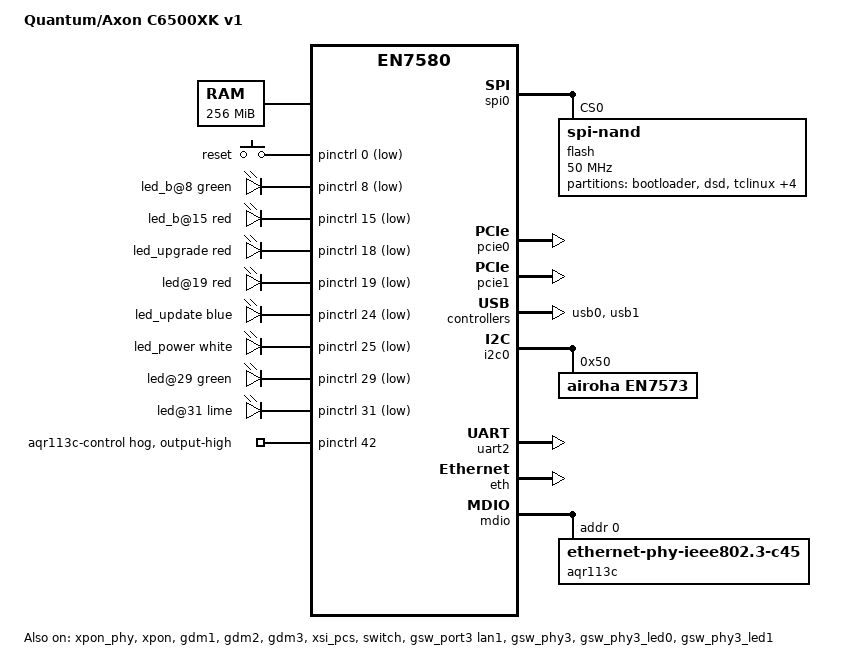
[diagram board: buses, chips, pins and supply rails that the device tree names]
// SPDX-License-Identifier: GPL-2.0

/dts-v1/;

#include "en7580.dtsi"

/ {
	model = "Quantum/Axon C6500XK v1";
	compatible = "quantum,c6500xk-v1", "econet,en7580";

	memory@0 {
		device_type = "memory";
		reg = <0x00000000 0x10000000>;
	};

	aliases {
		serial0 = &uart1;
		led-boot = &led_power;
		led-failsafe = &led_upgrade;
		led-upgrade = &led_update;
		led-running = &led_power;
	};

	keys {
		compatible = "gpio-keys-polled";
		poll-interval = <100>;

		reset {
			label = "reset";
			linux,code = <KEY_RESTART>;
			gpios = <&pinctrl 0 GPIO_ACTIVE_LOW>;
			debounce-interval = <60>;
		};
	};

	leds {
		compatible = "gpio-leds";

		led_b@8 {
			color = <LED_COLOR_ID_GREEN>;
			function = LED_FUNCTION_STATUS;
			function-enumerator = <8>;
			gpios = <&pinctrl 8 GPIO_ACTIVE_LOW>;
		};

		led_b@15 {
			color = <LED_COLOR_ID_RED>;
			function = LED_FUNCTION_STATUS;
			function-enumerator = <15>;
			gpios = <&pinctrl 15 GPIO_ACTIVE_LOW>;
		};

		// Red
		led_upgrade: led@18 {
			gpios = <&pinctrl 18 GPIO_ACTIVE_LOW>;
			color = <LED_COLOR_ID_RED>;
			function = LED_FUNCTION_STATUS;
			function-enumerator = <18>;
		};

		// Red brightless
		led@19 {
			gpios = <&pinctrl 19 GPIO_ACTIVE_LOW>;
			color = <LED_COLOR_ID_RED>;
			function = LED_FUNCTION_STATUS;
			function-enumerator = <19>;
		};

		// Blue
		led_update: led@24 {
			gpios = <&pinctrl 24 GPIO_ACTIVE_LOW>;
			color = <LED_COLOR_ID_BLUE>;
			function = LED_FUNCTION_STATUS;
			function-enumerator = <24>;
		};

		// White
		led_power: led@25 {
			gpios = <&pinctrl 25 GPIO_ACTIVE_LOW>;
			color = <LED_COLOR_ID_WHITE>;
			function = LED_FUNCTION_STATUS;
			function-enumerator = <25>;
		};

		// Green
		led@29 {
			gpios = <&pinctrl 29 GPIO_ACTIVE_LOW>;
			color = <LED_COLOR_ID_GREEN>;
			function = LED_FUNCTION_STATUS;
			function-enumerator = <29>;
		};

		// Green brightless
		led@31 {
			gpios = <&pinctrl 31 GPIO_ACTIVE_LOW>;
			color = <LED_COLOR_ID_LIME>;
			function = LED_FUNCTION_STATUS;
			function-enumerator = <31>;
		};
	};
};

/*
[    3.013668] parsing <2m[bootloader],2m[dsd],64m[tclinux],64m[tclinux_slave],320m[system],2m[uenv]>
[    3.047455] partition 9: name <uenv>, offset ffffffff, size 200000, mask flags 0
[    3.071353] partition 8: name <system>, offset ffffffff, size 14000000, mask flags 0
[    3.096506] partition 7: name <tclinux_slave>, offset ffffffff, size 4000000, mask flags 0
[    3.123296] partition 4: name <tclinux>, offset ffffffff, size 4000000, mask flags 0
[    3.148400] partition 1: name <dsd>, offset ffffffff, size 200000, mask flags 0
[    3.172069] partition 0: name <bootloader>, offset ffffffff, size 200000, mask flags 0
[    3.201207] Creating 11 MTD partitions on "EN7512-SPI_NAND":
[    3.219065] 0x000000000000-0x000000200000 : "bootloader"
[    3.239329] 0x000000200000-0x000000400000 : "dsd"
[    3.345400] 0x000000400000-0x000004400000 : "tclinux"
[    3.458884] 0x000004400000-0x000008400000 : "tclinux_slave"
[    3.478734] 0x000008400000-0x00001c400000 : "system"
[    3.496841] 0x00001c400000-0x00001c600000 : "uenv"
[    3.514013] 0x00001d5c0000-0x00001d740000 : "art"
*/

&spi0 {
	status = "okay";

	flash@0 {
		compatible = "spi-nand";
		reg = <0>;
		spi-max-frequency = <50000000>;
		spi-tx-bus-width = <1>;
		spi-rx-bus-width = <2>;

		partitions {
			compatible = "fixed-partitions";
			#address-cells = <1>;
			#size-cells = <1>;

			partition@0 {
				label = "bootloader";
				reg = <0x00000000 0x00200000>;
				read-only;
			};

			partition@200000 {
				label = "dsd";
				reg = <0x00200000 0x00200000>;
				read-only;

				nvmem-layout {
					compatible = "fixed-layout";
					#address-cells = <1>;
					#size-cells = <1>;

					ble_mac: mac-address@6c {
						compatible = "mac-base";
						reg = <0x006c 0x11>;
						#nvmem-cell-cells = <1>;
					};

					clei_code: clei-code@88 {
						reg = <0x0088 0x0a>;
					};

					gpon_serial: gpon-serial-number@98 {
						reg = <0x0098 0x0c>;
					};

					lan_mac: mac-address@ad {
						compatible = "mac-base";
						reg = <0x00ad 0x11>;
						#nvmem-cell-cells = <1>;
					};

					manufacturer: manufacturer@cc {
						reg = <0x00cc 0x06>;
					};

					hw_serial: serial-number@e1 {
						reg = <0x00e1 0x11>;
					};

					/* Stored as ASCII: "4C:BA:7D:58:54:F2". */
					wan_mac: mac-address@fb {
						compatible = "mac-base";
						reg = <0x00fb 0x11>;
						#nvmem-cell-cells = <1>;
					};

					/* Vendor BLE provisioning value, stored as 32 ASCII hex digits. */
					ble_random: ble-random@116 {
						reg = <0x0116 0x20>;
					};
				};
			};

			partition@400000 {
				label = "tclinux";
				reg = <0x00400000 0x04000000>;
			};

			partition@4400000 {
				label = "tclinux_slave";
				reg = <0x04400000 0x04000000>;
			};

			partition@8400000 {
				label = "system";
				reg = <0x08400000 0x14000000>;
			};

			partition@1c400000 {
				label = "uenv";
				reg = <0x1c400000 0x00200000>;
			};

			partition@1d5c0000 {
				label = "art";
				reg = <0x1d5c0000 0x00180000>;
				read-only;

				nvmem-layout {
					compatible = "fixed-layout";
					#address-cells = <1>;
					#size-cells = <1>;

					/* EN7573 A0/A2 calibration image, 512 bytes. */
					en7573_bob: calibration@60000 {
						reg = <0x060000 0x200>;
					};
				};
			};
		};
	};
};

&pcie0 {
	status = "okay";
};

&pcie1 {
	status = "okay";
};

&usb0 {
	status = "okay";
};

&usb1 {
	status = "okay";
};

&i2c0 {
	status = "okay";

	en7573: lddla@50 {
		compatible = "airoha,en7573";
		reg = <0x50>;

		nvmem-cells = <&en7573_bob>;
		nvmem-cell-names = "calibration";

		#optical-frontend-cells = <0>;
	};
};

/* The vendor firmware communicates with the BLE module over UART2. */
&uart2 {
	status = "okay";
};

&xpon_phy {
	status = "okay";
};

&xpon {
	status = "okay";

	nvmem-cells = <&gpon_serial>;
	nvmem-cell-names = "gpon-serial-number";
	omci-vendor-id = "AXON";

	optical-frontends = <&en7573>;
	optical-frontend-names = "pon";
};

&eth {
	status = "okay";
};

&gdm1 {
	status = "okay";

	nvmem-cells = <&lan_mac 0>;
	nvmem-cell-names = "mac-address";
};

&gdm2 {
	status = "okay";

	airoha,xpon-managed;
	openwrt,netdev-name = "pon0";
};

&gdm3 {
	status = "okay";

	openwrt,netdev-name = "lan2";

	phy-handle = <&aqr113c>;
	phy-mode = "10gbase-r";
	managed = "auto";

	nvmem-cells = <&wan_mac 0>;
	nvmem-cell-names = "mac-address";
};

&xsi_pcs {
	status = "okay";
};

&pinctrl {
	aqr113c-control-hog {
		gpio-hog;
		gpios = <42 GPIO_ACTIVE_HIGH>;
		output-high;
		line-name = "aqr113c-control";
	};
};

&mdio {
	aqr113c: ethernet-phy@0 {
		reg = <0x0>;
		compatible = "ethernet-phy-ieee802.3-c45";
		firmware-name = "marvell/AQR-G4_v5.6.7-AQR_Marvell_NoSwap_XFI_ID44834_VER1922.cld";

		leds {
			#address-cells = <1>;
			#size-cells = <0>;
	
			led@0 {
				reg = <0>;
				color = <LED_COLOR_ID_GREEN>;
				function = LED_FUNCTION_LAN;
				default-state = "on";
			};
	
			led@1 {
				reg = <1>;
				color = <LED_COLOR_ID_AMBER>;
				function = LED_FUNCTION_ACTIVITY;
				default-state = "on";
			};
		};
	};
};

&switch {
	status = "okay";
};

&gsw_port3 {
	label = "lan1";
	status = "okay";
};

&gsw_phy3 {
	status = "okay";
	pinctrl-0 = <&swp3_led1>;
};

&gsw_phy3_led0 {
	status = "okay";
	color = <LED_COLOR_ID_GREEN>;
	function = LED_FUNCTION_LAN;
};

&gsw_phy3_led1 {
	status = "okay";
	color = <LED_COLOR_ID_AMBER>;
	function = LED_FUNCTION_ACTIVITY;
};
